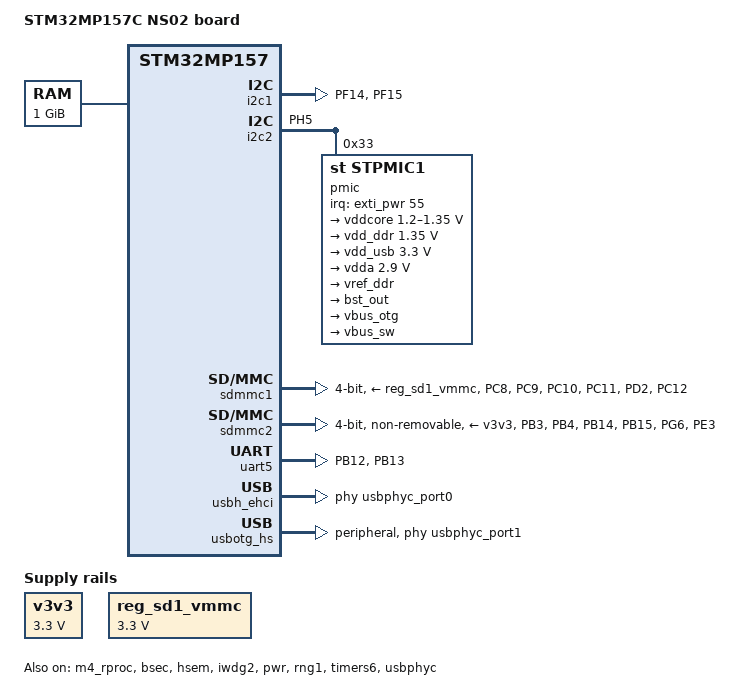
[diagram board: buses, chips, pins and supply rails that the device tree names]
/* SPDX-License-Identifier: (GPL-2.0+ OR BSD-3-Clause) */
/*
 * Copyright (C) STMicroelectronics 2019 - All Rights Reserved
 * Author: STM32CubeMX code generation for STMicroelectronics.
 */

/dts-v1/;
#include "stm32mp157c.dtsi"
#include "stm32mp157c-m4-srm.dtsi"
#include "stm32mp157cac-pinctrl.dtsi"

/* USER CODE BEGIN includes */
#include <dt-bindings/gpio/gpio.h>
#include <dt-bindings/input/input.h>
#include <dt-bindings/mfd/st,stpmic1.h>
#include <dt-bindings/rtc/rtc-stm32.h>
/* USER CODE END includes */

/ {
	model = "STM32MP157C NS02 board";
	compatible = "st,stm32mp157c-ns02", "st,stm32mp157";

	memory@c0000000 {
		reg = <0xc0000000 0x40000000>;

		/* USER CODE BEGIN memory */
		/* USER CODE END memory */
	};

	reserved-memory {
		#address-cells = <1>;
		#size-cells = <1>;
		ranges;

		/* USER CODE BEGIN reserved-memory */

		retram: retram@0x38000000 {
			compatible = "shared-dma-pool";
			reg = <0x38000000 0x10000>;
			no-map;
		};

		mcuram: mcuram@0x30000000 {
			compatible = "shared-dma-pool";
			reg = <0x30000000 0x40000>;
			no-map;
		};

		mcuram2: mcuram2@0x10000000 {
			compatible = "shared-dma-pool";
			reg = <0x10000000 0x40000>;
			no-map;
		};

		vdev0vring0: vdev0vring0@10040000 {
			compatible = "shared-dma-pool";
			reg = <0x10040000 0x2000>;
			no-map;
		};

		vdev0vring1: vdev0vring1@10042000 {
			compatible = "shared-dma-pool";
			reg = <0x10042000 0x2000>;
			no-map;
		};

		vdev0buffer: vdev0buffer@10044000 {
			compatible = "shared-dma-pool";
			reg = <0x10044000 0x4000>;
			no-map;
		};
		/* USER CODE END reserved-memory */

		gpu_reserved: gpu@f8000000 {
			reg = <0xf8000000 0x8000000>;
			no-map;
		};
	};

	/* USER CODE BEGIN root */
	aliases {
		serial0 = &uart5;
	};

	chosen {
		stdout-path = "serial0:115200n8";
	};

	sram: sram@10050000 {
		compatible = "mmio-sram";
		reg = <0x10050000 0x10000>;
		#address-cells = <1>;
		#size-cells = <1>;
		ranges = <0 0x10050000 0x10000>;

		dma_pool: dma_pool@0 {
			reg = <0x0 0x10000>;
			pool;
		};
	};
	
	ns02_rst {
          soft_rst_gpio = <&gpioz 5 GPIO_ACTIVE_HIGH>;
	};

    regulators {
        compatible = "simple-bus";
        #address-cells = <1>;
        #size-cells = <0>;

        v3v3: regulator@0 {
            compatible = "regulator-fixed";
            reg = <0>;
            regulator-name = "dummy-3v3-supply";
            regulator-boot-on;
			regulator-min-microvolt = <3300000>;
			regulator-max-microvolt = <3300000>;
        };

		reg_sd1_vmmc: sd1_regulator {
			compatible = "regulator-fixed";
			regulator-name = "sdcard_enable";
			reg = <1>;
			regulator-min-microvolt = <3300000>;
			regulator-max-microvolt = <3300000>;
			regulator-boot-on;
			regulator-always-on;
			enable-active-low;
		};
};
	
	/* USER CODE END root */

	clocks {
		/* USER CODE BEGIN clocks */
		/* USER CODE END clocks */

		clk_lsi: clk-lsi {
			clock-frequency = <32000>;
		};

		clk_hsi: clk-hsi {
			clock-frequency = <64000000>;
		};

		clk_lse: clk-lse {
			clock-frequency = <32768>;
		};

		clk_hse: clk-hse {
			clock-frequency = <24000000>;
		};
	};
	
	usb_phy_tuning: usb-phy-tuning {
		st,hs-dc-level = <2>;
		st,fs-rftime-tuning;
		st,hs-rftime-reduction;
		st,hs-current-trim = <15>;
		st,hs-impedance-trim = <1>;
		st,squelch-level = <3>;
		st,hs-rx-offset = <2>;
		st,no-lsfs-sc;
	};

}; /*root*/

&pinctrl {
	u-boot,dm-pre-reloc;

	i2c1_pins_mx: i2c1_mx-0 {
		pins {
			pinmux = <STM32_PINMUX('F', 14, AF5)>, /* I2C1_SCL */
					 <STM32_PINMUX('F', 15, AF5)>; /* I2C1_SDA */
			bias-pull-up;
			drive-open-drain;
			slew-rate = <0>;
		};
	};

	i2c1_sleep_pins_mx: i2c1_sleep_mx-0 {
		pins {
			pinmux = <STM32_PINMUX('F', 14, ANALOG)>, /* I2C1_SCL */
					 <STM32_PINMUX('F', 15, ANALOG)>; /* I2C1_SDA */
		};
	};

	i2c2_pins_mx: i2c2_mx-0 {
		pins {
			pinmux = <STM32_PINMUX('H', 5, AF4)>, /* I2C2_SDA */
					 <STM32_PINMUX('Z', 4, AF3)>; /* I2C2_SCL */
			bias-pull-up;
			drive-open-drain;
			slew-rate = <0>;
		};
	};

	i2c2_sleep_pins_mx: i2c2_sleep_mx-0 {
		pins {
			pinmux = <STM32_PINMUX('H', 5, ANALOG)>, /* I2C2_SDA */
					 <STM32_PINMUX('Z', 4, ANALOG)>; /* I2C2_SCL */
		};
	};

	sdmmc1_pins_mx: sdmmc1_mx-0 {
		u-boot,dm-pre-reloc;
		pins1 {
			u-boot,dm-pre-reloc;
			pinmux = <STM32_PINMUX('C', 8, AF12)>, /* SDMMC1_D0 */
					 <STM32_PINMUX('C', 9, AF12)>, /* SDMMC1_D1 */
					 <STM32_PINMUX('C', 10, AF12)>, /* SDMMC1_D2 */
					 <STM32_PINMUX('C', 11, AF12)>, /* SDMMC1_D3 */
					 <STM32_PINMUX('D', 2, AF12)>; /* SDMMC1_CMD */
			bias-disable;
			drive-push-pull;
			slew-rate = <1>;
		};
		pins2 {
			u-boot,dm-pre-reloc;
			pinmux = <STM32_PINMUX('C', 12, AF12)>; /* SDMMC1_CK */
			bias-disable;
			drive-push-pull;
			slew-rate = <2>;
		};
	};

	sdmmc1_opendrain_pins_mx: sdmmc1_opendrain_mx-0 {
		u-boot,dm-pre-reloc;
		pins1 {
			u-boot,dm-pre-reloc;
			pinmux = <STM32_PINMUX('C', 8, AF12)>, /* SDMMC1_D0 */
					 <STM32_PINMUX('C', 9, AF12)>, /* SDMMC1_D1 */
					 <STM32_PINMUX('C', 10, AF12)>, /* SDMMC1_D2 */
					 <STM32_PINMUX('C', 11, AF12)>; /* SDMMC1_D3 */
			bias-disable;
			drive-push-pull;
			slew-rate = <1>;
		};
		pins2 {
			u-boot,dm-pre-reloc;
			pinmux = <STM32_PINMUX('C', 12, AF12)>; /* SDMMC1_CK */
			bias-disable;
			drive-push-pull;
			slew-rate = <2>;
		};
		pins3 {
			u-boot,dm-pre-reloc;
			pinmux = <STM32_PINMUX('D', 2, AF12)>; /* SDMMC1_CMD */
			bias-disable;
			drive-open-drain;
			slew-rate = <1>;
		};
	};

	sdmmc1_sleep_pins_mx: sdmmc1_sleep_mx-0 {
		u-boot,dm-pre-reloc;
		pins {
			u-boot,dm-pre-reloc;
			pinmux = <STM32_PINMUX('C', 8, ANALOG)>, /* SDMMC1_D0 */
					 <STM32_PINMUX('C', 9, ANALOG)>, /* SDMMC1_D1 */
					 <STM32_PINMUX('C', 10, ANALOG)>, /* SDMMC1_D2 */
					 <STM32_PINMUX('C', 11, ANALOG)>, /* SDMMC1_D3 */
					 <STM32_PINMUX('C', 12, ANALOG)>, /* SDMMC1_CK */
					 <STM32_PINMUX('D', 2, ANALOG)>; /* SDMMC1_CMD */
		};
	};

	sdmmc2_pins_mx: sdmmc2_mx-0 {
		u-boot,dm-pre-reloc;
		pins1 {
			u-boot,dm-pre-reloc;
			pinmux = <STM32_PINMUX('B', 3, AF9)>, /* SDMMC2_D2 */
					 <STM32_PINMUX('B', 4, AF9)>, /* SDMMC2_D3 */
					 <STM32_PINMUX('B', 14, AF9)>, /* SDMMC2_D0 */
					 <STM32_PINMUX('B', 15, AF9)>, /* SDMMC2_D1 */
					 <STM32_PINMUX('G', 6, AF10)>; /* SDMMC2_CMD */
			bias-disable;
			drive-push-pull;
			slew-rate = <1>;
		};
		pins2 {
			u-boot,dm-pre-reloc;
			pinmux = <STM32_PINMUX('E', 3, AF9)>; /* SDMMC2_CK */
			bias-disable;
			drive-push-pull;
			slew-rate = <2>;
		};
	};

	sdmmc2_opendrain_pins_mx: sdmmc2_opendrain_mx-0 {
		u-boot,dm-pre-reloc;
		pins1 {
			u-boot,dm-pre-reloc;
			pinmux = <STM32_PINMUX('B', 3, AF9)>, /* SDMMC2_D2 */
					 <STM32_PINMUX('B', 4, AF9)>, /* SDMMC2_D3 */
					 <STM32_PINMUX('B', 14, AF9)>, /* SDMMC2_D0 */
					 <STM32_PINMUX('B', 15, AF9)>; /* SDMMC2_D1 */
			bias-disable;
			drive-push-pull;
			slew-rate = <1>;
		};
		pins2 {
			u-boot,dm-pre-reloc;
			pinmux = <STM32_PINMUX('E', 3, AF9)>; /* SDMMC2_CK */
			bias-disable;
			drive-push-pull;
			slew-rate = <2>;
		};
		pins3 {
			u-boot,dm-pre-reloc;
			pinmux = <STM32_PINMUX('G', 6, AF10)>; /* SDMMC2_CMD */
			bias-disable;
			drive-open-drain;
			slew-rate = <1>;
		};
	};

	sdmmc2_sleep_pins_mx: sdmmc2_sleep_mx-0 {
		u-boot,dm-pre-reloc;
		pins {
			u-boot,dm-pre-reloc;
			pinmux = <STM32_PINMUX('B', 3, ANALOG)>, /* SDMMC2_D2 */
					 <STM32_PINMUX('B', 4, ANALOG)>, /* SDMMC2_D3 */
					 <STM32_PINMUX('B', 14, ANALOG)>, /* SDMMC2_D0 */
					 <STM32_PINMUX('B', 15, ANALOG)>, /* SDMMC2_D1 */
					 <STM32_PINMUX('E', 3, ANALOG)>, /* SDMMC2_CK */
					 <STM32_PINMUX('G', 6, ANALOG)>; /* SDMMC2_CMD */
		};
	};

	uart5_pins_mx: uart5_mx-0 {
		u-boot,dm-pre-reloc;
		pins1 {
			u-boot,dm-pre-reloc;
			pinmux = <STM32_PINMUX('B', 12, AF14)>; /* UART5_RX */
			bias-disable;
		};
		pins2 {
			u-boot,dm-pre-reloc;
			pinmux = <STM32_PINMUX('B', 13, AF14)>; /* UART5_TX */
			bias-disable;
			drive-push-pull;
			slew-rate = <0>;
		};
	};

	uart5_sleep_pins_mx: uart5_sleep_mx-0 {
		u-boot,dm-pre-reloc;
		pins {
			u-boot,dm-pre-reloc;
			pinmux = <STM32_PINMUX('B', 12, ANALOG)>, /* UART5_RX */
					 <STM32_PINMUX('B', 13, ANALOG)>; /* UART5_TX */
		};
	};

	/* USER CODE BEGIN pinctrl */
	/* USER CODE END pinctrl */
};

&pinctrl_z {
	u-boot,dm-pre-reloc;

	i2c2_pins_z_mx: i2c2_mx-0 {
		pins {
			pinmux = <STM32_PINMUX('Z', 4, AF3)>; /* I2C2_SCL */
			bias-disable;
			drive-open-drain;
			slew-rate = <0>;
		};
	};

	i2c2_sleep_pins_z_mx: i2c2_sleep_mx-0 {
		pins {
			pinmux = <STM32_PINMUX('Z', 4, ANALOG)>; /* I2C2_SCL */
		};
	};

	/* USER CODE BEGIN pinctrl_z */
	/* USER CODE END pinctrl_z */
};

&m4_rproc{
	mboxes = <&ipcc 0>, <&ipcc 1>, <&ipcc 2>;
	mbox-names = "vq0", "vq1", "shutdown";
	recovery;
	status = "okay";

	/* USER CODE BEGIN m4_rproc */
	interrupt-parent = <&exti>;
	interrupts = <68 1>;
	interrupt-names = "wdg";
	/* USER CODE END m4_rproc */
};

&bsec{
	status = "okay";

	/* USER CODE BEGIN bsec */
	/* USER CODE END bsec */
};

&hsem{
	status = "okay";

	/* USER CODE BEGIN hsem */
	/* USER CODE END hsem */
};

&i2c1{
	pinctrl-names = "default", "sleep";
	pinctrl-0 = <&i2c1_pins_mx>;
	pinctrl-1 = <&i2c1_sleep_pins_mx>;
	status = "okay";

	/* USER CODE BEGIN i2c1 */
	i2c-scl-rising-time-ns = <100>;
	i2c-scl-falling-time-ns = <7>;
	/delete-property/dmas;
	/delete-property/dma-names;
	/* USER CODE END i2c1 */
};

&i2c2{
	pinctrl-names = "default", "sleep";
	pinctrl-0 = <&i2c2_pins_mx &i2c2_pins_z_mx>;
	pinctrl-1 = <&i2c2_sleep_pins_mx &i2c2_sleep_pins_z_mx>;
	status = "okay";

	/* USER CODE BEGIN i2c2 */
	pmic: stpmic@33 {
		compatible = "st,stpmic1";
		reg = <0x33>;
		interrupts-extended = <&exti_pwr 55 IRQ_TYPE_EDGE_FALLING>;
		interrupt-controller;
		#interrupt-cells = <2>;
		status = "okay";

		st,main-control-register = <0x04>;
		st,vin-control-register = <0xc0>;
		st,usb-control-register = <0x20>;

		regulators {
			compatible = "st,stpmic1-regulators";

			ldo1-supply = <&v3v3>;
			ldo3-supply = <&vdd_ddr>;
			ldo6-supply = <&v3v3>;
			pwr_sw1-supply = <&bst_out>;
			pwr_sw2-supply = <&bst_out>;

			vddcore: buck1 {
				regulator-name = "vddcore";
				regulator-min-microvolt = <1200000>;
				regulator-max-microvolt = <1350000>;
				regulator-always-on;
				regulator-initial-mode = <0>;
				regulator-over-current-protection;
			};

			vdd_ddr: buck2 {
				regulator-name = "vdd_ddr";
				regulator-min-microvolt = <1350000>;
				regulator-max-microvolt = <1350000>;
				regulator-always-on;
				regulator-initial-mode = <0>;
				regulator-over-current-protection;
			};

			vdd_usb: ldo4 {
				regulator-name = "vdd_usb";
				regulator-min-microvolt = <3300000>;
				regulator-max-microvolt = <3300000>;
				interrupts = <IT_CURLIM_LDO4 0>;
			};

			vdda: ldo1 {
				regulator-name = "vdda";
				regulator-min-microvolt = <2900000>;
				regulator-max-microvolt = <2900000>;
				interrupts = <IT_CURLIM_LDO1 0>;
				regulator-boot-on;
			};

			vref_ddr: vref_ddr {
				regulator-name = "vref_ddr";
				regulator-always-on;
				regulator-over-current-protection;
			};

			 bst_out: boost {
				regulator-name = "bst_out";
				interrupts = <IT_OCP_BOOST 0>;
			 };

			vbus_otg: pwr_sw1 {
				regulator-name = "vbus_otg";
				interrupts = <IT_OCP_OTG 0>;
				regulator-active-discharge;
			 };

			 vbus_sw: pwr_sw2 {
				regulator-name = "vbus_sw";
				interrupts = <IT_OCP_SWOUT 0>;
				regulator-active-discharge;
			 };
		};
	};
	/* USER CODE END i2c2 */
};

&ipcc{
	status = "okay";

	/* USER CODE BEGIN ipcc */
	/* USER CODE END ipcc */
};

&iwdg2{
	status = "okay";

	/* USER CODE BEGIN iwdg2 */
	timeout-sec = <32>;
	/* USER CODE END iwdg2 */
};

&pwr{
	status = "okay";

	/* USER CODE BEGIN pwr */
	/* pwr-supply = <&vdd>; */
	/* USER CODE END pwr */
};

&rcc{
	u-boot,dm-pre-reloc;
	status = "okay";

	/* USER CODE BEGIN rcc */
	/* USER CODE END rcc */
};

&rng1{
	status = "okay";

	/* USER CODE BEGIN rng1 */
	/* USER CODE END rng1 */
};

&sdmmc1{
	u-boot,dm-pre-reloc;
	pinctrl-names = "default", "opendrain", "sleep";
	pinctrl-0 = <&sdmmc1_pins_mx>;
	pinctrl-1 = <&sdmmc1_opendrain_pins_mx>;
	pinctrl-2 = <&sdmmc1_sleep_pins_mx>;
	status = "okay";

	/* USER CODE BEGIN sdmmc1 */
	broken-cd;
	st,neg-edge;
	bus-width = <4>;
	vmmc-supply = <&reg_sd1_vmmc>;
	keep-power-in-suspend;
	/* USER CODE END sdmmc1 */
};

&sdmmc2{
	u-boot,dm-pre-reloc;
	pinctrl-names = "default", "opendrain", "sleep";
	pinctrl-0 = <&sdmmc2_pins_mx>;
	pinctrl-1 = <&sdmmc2_opendrain_pins_mx>;
	pinctrl-2 = <&sdmmc2_sleep_pins_mx>;
	status = "okay";

	/* USER CODE BEGIN sdmmc2 */
	non-removable;
	st,neg-edge;
	bus-width = <4>;
	vmmc-supply = <&v3v3>;
	keep-power-in-suspend;
	/* USER CODE END sdmmc2 */
};

&timers6{
	status = "okay";

	/* USER CODE BEGIN timers6 */
	/* spare dmas for other usage */
	/delete-property/dmas;
	/delete-property/dma-names;
	timer@5 {
		status = "okay";
	};
	/* USER CODE END timers6 */
};

&uart5{
	u-boot,dm-pre-reloc;
	pinctrl-names = "default", "sleep";
	pinctrl-0 = <&uart5_pins_mx>;
	pinctrl-1 = <&uart5_sleep_pins_mx>;
	status = "okay";

	/* USER CODE BEGIN uart5 */
	/* USER CODE END uart5 */
};

&usbh_ehci {
	phys = <&usbphyc_port0>;
	phy-names = "usb";
	status = "okay";
};

&usbotg_hs {
	dr_mode = "peripheral";
	force-b-session-valid;
	phys = <&usbphyc_port1 0>;
	phy-names = "usb2-phy";
	status = "okay";
};

&usbphyc {
	vdd3v3-supply = <&vdd_usb>;
	status = "okay";
};

&usbphyc_port0 {
	st,phy-tuning = <&usb_phy_tuning>;
};

&usbphyc_port1 {
	st,phy-tuning = <&usb_phy_tuning>;
};

/* USER CODE BEGIN addons */
&m4_rproc {
memory-region = <&retram>, <&mcuram>, <&mcuram2>, <&vdev0vring0>,
		<&vdev0vring1>, <&vdev0buffer>;
};

&dma1 {
	sram = <&dma_pool>;
};

&dma2 {
	sram = <&dma_pool>;
};
/* USER CODE END addons */

